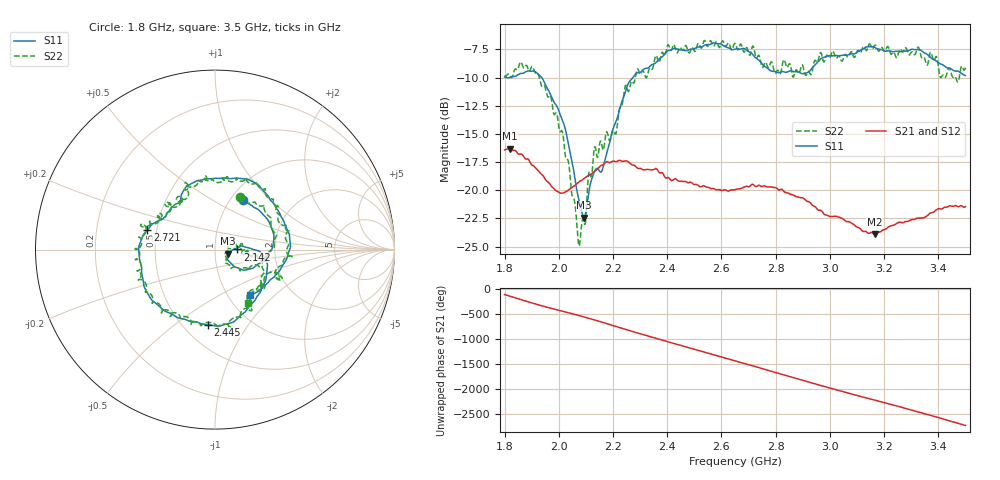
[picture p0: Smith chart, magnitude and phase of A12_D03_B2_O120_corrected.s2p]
! Created with skrf 1.9.0 (http://scikit-rf.org).
# Hz S RI R 50.0
!freq ReS11 ImS11 ReS21 ImS21 ReS12 ImS12 ReS22 ImS22
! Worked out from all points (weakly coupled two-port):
!   1601 points, 1.8 GHz to 3.5 GHz, reference 50 ohm
!   highest |S21| = -16.31 dB at 1.818 GHz (marker M1); lowest = -23.9 dB at 3.165 GHz (marker M2)
!   lowest |S11| = -22.4 dB at 2.093 GHz (marker M3), VSWR 1.16, Z = 57.7 - j2.64 ohm
!   |S11| at or under -10 dB: 1.806 GHz to 1.817 GHz (10.87 MHz wide, 0.6 % of centre); 1.937 GHz to 2.273 GHz (336.3 MHz wide, 16 % of centre)
!   |S22| runs from -25.0 to -6.7 dB; largest |S21 - S12| = 0.0026
!   S11 on the Smith chart (normalised r, x): 1.8 GHz: 1.13, +0.70; 2.142 GHz: 1.29, +0.00; 2.445 GHz: 0.66, -0.67; 2.721 GHz: 0.44, +0.11; 3.5 GHz: 1.26, -0.72
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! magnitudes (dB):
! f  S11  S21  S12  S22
! 1.8 GHz  -9.9  -16.4  -16.4  -9.8
! 1.818 GHz  -10.0  -16.3  -16.3  -9.7
! 1.903 GHz  -9.4  -17.8  -17.8  -9.0
! 1.968 GHz  -11.4  -19.5  -19.5  -11.6
! 2.022 GHz  -14.4  -20.2  -20.2  -16.6
! 2.072 GHz  -20.6  -19.3  -19.3  -24.7
! 2.084 GHz  -21.8  -19.1  -19.1  -23.1
! 2.093 GHz  -22.4  -19.0  -19.0  -22.8
! 2.112 GHz  -19.9  -18.6  -18.7  -18.4
! 2.142 GHz  -18.1  -18.1  -18.1  -17.1
! 2.209 GHz  -14.0  -17.5  -17.4  -15.0
! 2.259 GHz  -10.4  -17.5  -17.5  -11.2
! 2.367 GHz  -8.4  -18.3  -18.3  -8.6
! 2.445 GHz  -7.5  -19.2  -19.2  -7.3
! 2.65 GHz  -7.5  -19.9  -19.9  -7.0
! 2.721 GHz  -8.1  -19.6  -19.5  -7.5
! 2.934 GHz  -9.2  -21.3  -21.3  -9.6
! 3.165 GHz  -7.3  -23.9  -23.9  -7.1
! 3.217 GHz  -7.6  -23.2  -23.2  -7.4
! 3.375 GHz  -8.3  -22.0  -22.0  -7.9
! 3.415 GHz  -8.8  -21.6  -21.6  -9.8
! 3.5 GHz  -9.8  -21.5  -21.4  -9.1
